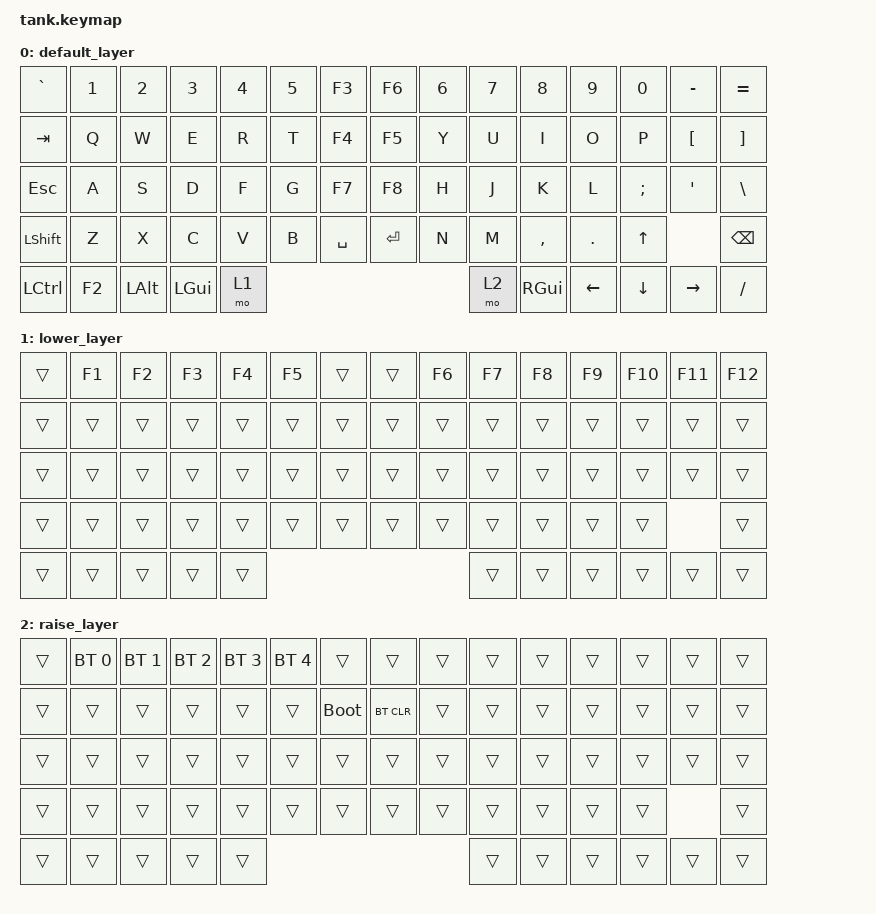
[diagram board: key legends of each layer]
/*
 * Copyright (c) 2020 The ZMK Contributors
 *
 * SPDX-License-Identifier: MIT
 */

#include <behaviors.dtsi>
#include <dt-bindings/zmk/bt.h>
#include <dt-bindings/zmk/keys.h>

/ {
    combos { compatible = "zmk,combos"; };

    keymap {
        compatible = "zmk,keymap";

        default_layer {
            bindings = <
&kp GRAVE  &kp N1  &kp N2    &kp N3    &kp N4  &kp N5  &kp F3     &kp F6   &kp N6  &kp N7  &kp N8     &kp N9    &kp N0    &kp MINUS  &kp EQUAL
&kp TAB    &kp Q   &kp W     &kp E     &kp R   &kp T   &kp F4     &kp F5   &kp Y   &kp U   &kp I      &kp O     &kp P     &kp LBKT   &kp RBKT
&kp ESC    &kp A   &kp S     &kp D     &kp F   &kp G   &kp F7     &kp F8   &kp H   &kp J   &kp K      &kp L     &kp SEMI  &kp SQT    &kp BSLH
&kp LSHFT  &kp Z   &kp X     &kp C     &kp V   &kp B   &kp SPACE  &kp RET  &kp N   &kp M   &kp COMMA  &kp DOT   &kp UP               &kp BACKSPACE
&kp LCTRL  &kp F2  &kp LALT  &kp LGUI  &mo 1                                       &mo 2   &kp RGUI   &kp LEFT  &kp DOWN  &kp RIGHT  &kp FSLH
            >;
        };

        lower_layer {
            bindings = <
&trans  &kp F1  &kp F2  &kp F3  &kp F4  &kp F5  &trans  &trans  &kp F6  &kp F7  &kp F8  &kp F9  &kp F10  &kp F11  &kp F12
&trans  &trans  &trans  &trans  &trans  &trans  &trans  &trans  &trans  &trans  &trans  &trans  &trans   &trans   &trans
&trans  &trans  &trans  &trans  &trans  &trans  &trans  &trans  &trans  &trans  &trans  &trans  &trans   &trans   &trans
&trans  &trans  &trans  &trans  &trans  &trans  &trans  &trans  &trans  &trans  &trans  &trans  &trans            &trans
&trans  &trans  &trans  &trans  &trans                                  &trans  &trans  &trans  &trans   &trans   &trans
            >;
        };

        raise_layer {
            bindings = <
&trans  &bt BT_SEL 0  &bt BT_SEL 1  &bt BT_SEL 2  &bt BT_SEL 3  &bt BT_SEL 4  &trans       &trans      &trans  &trans  &trans  &trans  &trans  &trans  &trans
&trans  &trans        &trans        &trans        &trans        &trans        &bootloader  &bt BT_CLR  &trans  &trans  &trans  &trans  &trans  &trans  &trans
&trans  &trans        &trans        &trans        &trans        &trans        &trans       &trans      &trans  &trans  &trans  &trans  &trans  &trans  &trans
&trans  &trans        &trans        &trans        &trans        &trans        &trans       &trans      &trans  &trans  &trans  &trans  &trans          &trans
&trans  &trans        &trans        &trans        &trans                                                       &trans  &trans  &trans  &trans  &trans  &trans
            >;
        };
    };
};
